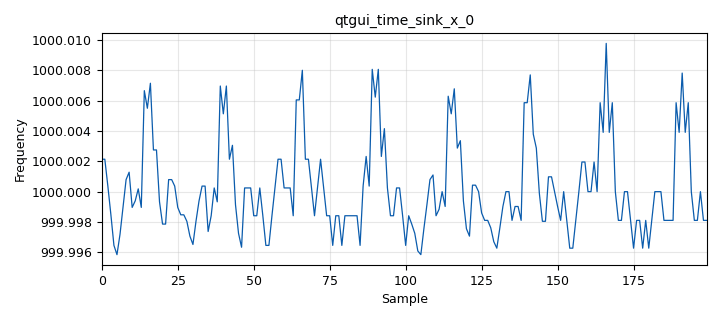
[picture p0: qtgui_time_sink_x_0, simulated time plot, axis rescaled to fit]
options:
  parameters:
    author: Marcus Müller
    copyright: '2021'
    description: Adapted from GNU Radio's own example (gr-analog/examples/pll_freqdet_simple.grc). The 1/(2*pi) constant is pre-computed because multiply_const_vxx's dtype template is not resolved by the editor.
    generate_options: qt_gui
    id: pll_freqdet_simple
    output_language: python
    title: Showcasing the PLL Freq Det
  states: {}

blocks:
- name: freq
  id: variable_qtgui_range
  parameters:
    comment: |-
      Frequency Adjustment
      Widget
    label: Frequency / Hz
    start: '-samp_rate/2'
    step: samp_rate/1e3
    stop: samp_rate/2
    value: '1'
  states: {}
- name: samp_rate
  id: variable
  parameters:
    value: 1e5
  states: {}
- name: analog_pll_freqdet_cf_0
  id: analog_pll_freqdet_cf
  parameters:
    max_freq: math.pi
    min_freq: '-math.pi'
    w: math.pi/10
  states: {}
- name: analog_sig_source_x_0
  id: analog_sig_source_x
  parameters:
    comment: |-
      Adjustable Frequency
      Signal Source
    offset: '0'
    phase: '0'
    samp_rate: samp_rate
    type: complex
    waveform: analog.GR_COS_WAVE
    frequency: freq
    amplitude: '1'
  states: {}
- name: blocks_multiply_const_vxx_0
  id: blocks_multiply_const_vxx
  parameters:
    comment: |-
      Output is phase/sample,
      so divide by 2π to get a
      relative frequency
      ∈[-1/2,1/2],
    const: '0.15915494309189535'
    type: float
    mode: scalar
  states: {}
- name: blocks_multiply_const_vxx_1
  id: blocks_multiply_const_vxx
  parameters:
    comment: |-
      multiply by sampling
      rate to get absolute 
      frequency
      ∈[-f_s/2, f_s/2]
    const: samp_rate
    type: float
    mode: scalar
  states: {}
- name: blocks_throttle2_0
  id: blocks_throttle2
  parameters:
    comment: |-
      Only slows down
      processing of 
      samples (for easier
      visualization)
    limit: items
    maximum: '100'
    samples_per_second: samp_rate
    type: float
  states: {}
- name: qtgui_number_sink_0
  id: qtgui_number_sink
  parameters:
    graph_type: qtgui.NUM_GRAPH_HORIZ
    label1: '"Phase advancement per sample"'
    max: math.pi
    min: '-math.pi'
    type: float
    unit1: rad
  states: {}
- name: qtgui_time_sink_x_0
  id: qtgui_time_sink_x
  parameters:
    label1: Frequency
    legend: 'False'
    size: '200'
    type: float
    ylabel: Frequency
    ymax: 0.55*samp_rate
    ymin: '-0.55*samp_rate'
    yunit: '"Hz"'
    samp_rate: samp_rate
  states: {}

connections:
- [analog_pll_freqdet_cf_0, '0', blocks_multiply_const_vxx_0, '0']
- [analog_pll_freqdet_cf_0, '0', blocks_throttle2_0, '0']
- [analog_pll_freqdet_cf_0, '0', qtgui_number_sink_0, '0']
- [analog_sig_source_x_0, '0', analog_pll_freqdet_cf_0, '0']
- [blocks_multiply_const_vxx_0, '0', blocks_multiply_const_vxx_1, '0']
- [blocks_multiply_const_vxx_1, '0', qtgui_time_sink_x_0, '0']

metadata:
  file_format: 1
  grc_version: v3.11.0.0git-554-g12f02467
